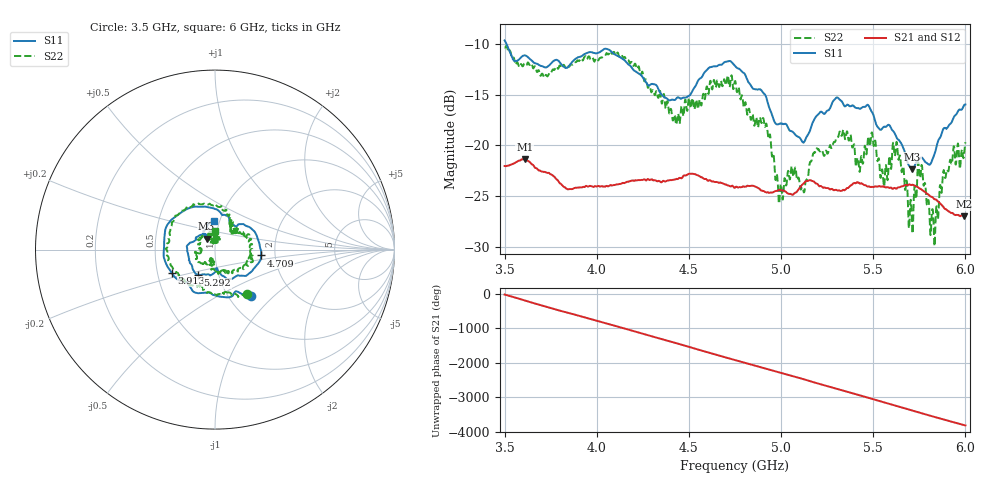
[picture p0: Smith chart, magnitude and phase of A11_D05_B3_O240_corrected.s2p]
! Created with skrf 1.9.0 (http://scikit-rf.org).
# Hz S RI R 50.0
!freq ReS11 ImS11 ReS21 ImS21 ReS12 ImS12 ReS22 ImS22
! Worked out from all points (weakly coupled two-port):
!   1601 points, 3.5 GHz to 6 GHz, reference 50 ohm
!   highest |S21| = -21.37 dB at 3.609 GHz (marker M1); lowest = -27.0 dB at 5.994 GHz (marker M2)
!   lowest |S11| = -22.4 dB at 5.713 GHz (marker M3), VSWR 1.17, Z = 45.2 + j5.49 ohm
!   |S11| at or under -10 dB: 3.51 GHz to end of sweep
!   |S22| runs from -29.9 to -10.2 dB; largest |S21 - S12| = 0.00092
!   S11 on the Smith chart (normalised r, x): 3.5 GHz: 1.26, -0.74; 3.913 GHz: 0.59, -0.17; 4.709 GHz: 1.69, -0.12; 5.292 GHz: 0.80, -0.23; 6 GHz: 0.94, +0.31
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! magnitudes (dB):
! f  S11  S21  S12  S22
! 3.5 GHz  -9.7  -22.0  -22.0  -10.4
! 3.609 GHz  -11.1  -21.4  -21.4  -11.9
! 3.913 GHz  -11.2  -24.2  -24.1  -11.5
! 3.917 GHz  -11.2  -24.2  -24.1  -11.4
! 4.123 GHz  -11.3  -23.8  -23.8  -11.3
! 4.334 GHz  -14.5  -23.5  -23.5  -15.3
! 4.439 GHz  -15.3  -23.3  -23.3  -17.0
! 4.709 GHz  -11.7  -23.9  -23.9  -13.2
! 4.75 GHz  -12.2  -24.2  -24.1  -13.7
! 4.912 GHz  -15.0  -24.6  -24.5  -18.2
! 4.998 GHz  -17.9  -24.4  -24.4  -23.8
! 5.167 GHz  -18.0  -23.5  -23.5  -21.4
! 5.292 GHz  -15.4  -24.4  -24.4  -19.7
! 5.5 GHz  -17.0  -24.1  -24.1  -19.8
! 5.584 GHz  -18.0  -24.2  -24.2  -21.6
! 5.634 GHz  -19.4  -24.2  -24.1  -21.1
! 5.713 GHz  -22.4  -23.9  -23.8  -28.7
! 5.755 GHz  -21.3  -24.3  -24.2  -23.2
! 5.841 GHz  -20.3  -25.3  -25.3  -26.4
! 5.888 GHz  -18.3  -26.2  -26.2  -23.0
! 5.994 GHz  -16.0  -27.0  -26.9  -20.7
! 6 GHz  -16.0  -27.0  -26.9  -19.7
